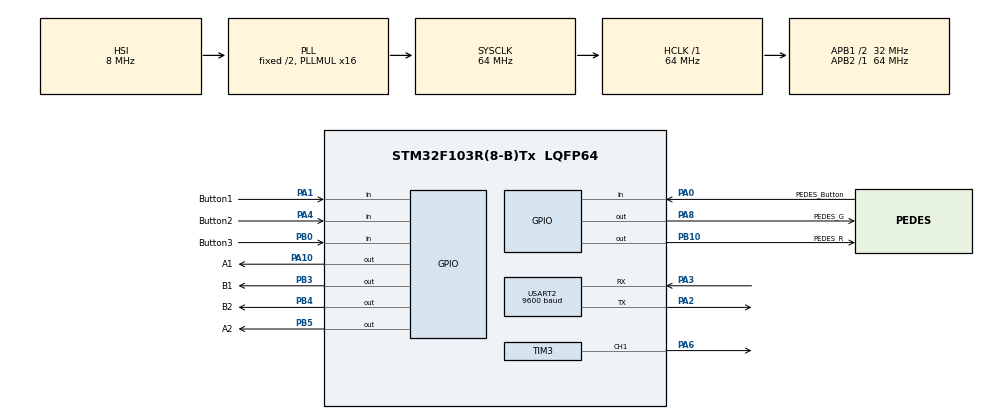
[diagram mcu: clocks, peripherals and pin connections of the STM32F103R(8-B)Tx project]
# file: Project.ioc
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Mcu.Family=STM32F1
Mcu.Name=STM32F103R(8-B)Tx
Mcu.Package=LQFP64
NVIC.PriorityGroup=NVIC_PRIORITYGROUP_4
NVIC.TIM2_IRQn=true\:0\:0\:false\:false\:true\:true\:true
NVIC.USART2_IRQn=true\:0\:0\:false\:false\:true\:true\:true
PA0-WKUP.GPIO_Label=PEDES_Button
PA0-WKUP.GPIO_PuPd=GPIO_PULLUP
PA0-WKUP.Signal=GPIO_Input
PA1.GPIO_Label=Button1
PA1.GPIO_PuPd=GPIO_PULLUP
PA1.Signal=GPIO_Input
PA10.GPIO_Label=A1
PA10.Signal=GPIO_Output
PA13.Mode=Serial_Wire
PA13.Signal=SYS_JTMS-SWDIO
PA14.Mode=Serial_Wire
PA14.Signal=SYS_JTCK-SWCLK
PA2.Mode=Asynchronous
PA2.Signal=USART2_TX
PA3.Mode=Asynchronous
PA3.Signal=USART2_RX
PA4.GPIO_Label=Button2
PA4.GPIO_PuPd=GPIO_PULLUP
PA4.Signal=GPIO_Input
PA6.Signal=S_TIM3_CH1
PA8.GPIO_Label=PEDES_G
PA8.Signal=GPIO_Output
PB0.GPIO_Label=Button3
PB0.GPIO_PuPd=GPIO_PULLUP
PB0.Signal=GPIO_Input
PB10.GPIO_Label=PEDES_R
PB10.Signal=GPIO_Output
PB3.GPIO_Label=B1
PB3.Signal=GPIO_Output
PB4.GPIO_Label=B2
PB4.Signal=GPIO_Output
PB5.GPIO_Label=A2
PB5.Signal=GPIO_Output
ProjectManager.HeapSize=0x200
ProjectManager.StackSize=0x400
ProjectManager.TargetToolchain=STM32CubeIDE
RCC.AHBFreq_Value=64000000
RCC.APB1CLKDivider=RCC_HCLK_DIV2
RCC.APB1Freq_Value=32000000
RCC.APB1TimFreq_Value=64000000
RCC.APB2Freq_Value=64000000
RCC.APB2TimFreq_Value=64000000
RCC.HCLKFreq_Value=64000000
RCC.PLLMUL=RCC_PLL_MUL16
RCC.SYSCLKFreq_VALUE=64000000
RCC.SYSCLKSource=RCC_SYSCLKSOURCE_PLLCLK
RCC.USBFreq_Value=64000000
SH.S_TIM3_CH1.0=TIM3_CH1,PWM Generation1 CH1
TIM2.Period=79
TIM2.Prescaler=7999
TIM3.Channel-PWM\ Generation1\ CH1=TIM_CHANNEL_1
TIM3.Period=999
TIM3.Prescaler=63
USART2.BaudRate=9600
USART2.VirtualMode=VM_ASYNC
VP_TIM2_VS_ClockSourceINT.Mode=Internal
VP_TIM3_VS_ClockSourceINT.Mode=Internal
board=custom

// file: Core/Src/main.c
/* USER CODE BEGIN Header */
/**
  ******************************************************************************
  * @file           : main.c
  * @brief          : Main program body
  ******************************************************************************
  * @attention
  *
  * <h2><center>&copy; Copyright (c) 2022 STMicroelectronics.
  * All rights reserved.</center></h2>
  *
  * This software component is licensed by ST under BSD 3-Clause license,
  * the "License"; You may not use this file except in compliance with the
  * License. You may obtain a copy of the License at:
  *                        opensource.org/licenses/BSD-3-Clause
  *
  ******************************************************************************
  */
/* USER CODE END Header */
#include "main.h"

/* USER CODE BEGIN Includes */
#include "software_timer.h"
#include "input_reading.h"
#include "M1_fsm.h"
#include "M2_fsm.h"
#include "M3_fsm.h"
#include "M4_fsm.h"
#include "Pedestrian.h"
#include "uart.h"
#include "global.h"
/* USER CODE END Includes */

TIM_HandleTypeDef htim2;
TIM_HandleTypeDef htim3;

UART_HandleTypeDef huart2;

void SystemClock_Config(void);
static void MX_GPIO_Init(void);
static void MX_TIM2_Init(void);
static void MX_TIM3_Init(void);
static void MX_USART2_UART_Init(void);

int main(void)
{

  /* MCU Configuration--------------------------------------------------------*/

  /* Reset of all peripherals, Initializes the Flash interface and the Systick. */
  HAL_Init();

  /* Configure the system clock */
  SystemClock_Config();

  /* Initialize all configured peripherals */
  MX_GPIO_Init();
  MX_TIM2_Init();
  MX_TIM3_Init();
  MX_USART2_UART_Init();
  /* USER CODE BEGIN 2 */
  HAL_TIM_Base_Start_IT (&htim2 ) ;
  HAL_TIM_PWM_Start(&htim3, TIM_CHANNEL_1);
  /* USER CODE END 2 */

  /* Infinite loop */
  /* USER CODE BEGIN WHILE */

  while (1)
  {
	  M1_fsm_run();
	  M2_fsm_run();
	  M3_fsm_run();
	  M4_fsm_run();
	  transmitdata();
	  Pedestrian_behavior();
    /* USER CODE END WHILE */

  }
}

void SystemClock_Config(void)
{
  RCC_OscInitTypeDef RCC_OscInitStruct = {0};
  RCC_ClkInitTypeDef RCC_ClkInitStruct = {0};

  /** Initializes the RCC Oscillators according to the specified parameters
  * in the RCC_OscInitTypeDef structure.
  */
  RCC_OscInitStruct.OscillatorType = RCC_OSCILLATORTYPE_HSI;
  RCC_OscInitStruct.HSIState = RCC_HSI_ON;
  RCC_OscInitStruct.HSICalibrationValue = RCC_HSICALIBRATION_DEFAULT;
  RCC_OscInitStruct.PLL.PLLState = RCC_PLL_ON;
  RCC_OscInitStruct.PLL.PLLSource = RCC_PLLSOURCE_HSI_DIV2;
  RCC_OscInitStruct.PLL.PLLMUL = RCC_PLL_MUL16;
  if (HAL_RCC_OscConfig(&RCC_OscInitStruct) != HAL_OK)
  {
    Error_Handler();
  }
  /** Initializes the CPU, AHB and APB buses clocks
  */
  RCC_ClkInitStruct.ClockType = RCC_CLOCKTYPE_HCLK|RCC_CLOCKTYPE_SYSCLK
                              |RCC_CLOCKTYPE_PCLK1|RCC_CLOCKTYPE_PCLK2;
  RCC_ClkInitStruct.SYSCLKSource = RCC_SYSCLKSOURCE_PLLCLK;
  RCC_ClkInitStruct.AHBCLKDivider = RCC_SYSCLK_DIV1;
  RCC_ClkInitStruct.APB1CLKDivider = RCC_HCLK_DIV2;
  RCC_ClkInitStruct.APB2CLKDivider = RCC_HCLK_DIV1;

  if (HAL_RCC_ClockConfig(&RCC_ClkInitStruct, FLASH_LATENCY_2) != HAL_OK)
  {
    Error_Handler();
  }
}

static void MX_TIM2_Init(void)
{

  TIM_ClockConfigTypeDef sClockSourceConfig = {0};
  TIM_MasterConfigTypeDef sMasterConfig = {0};

  htim2.Instance = TIM2;
  htim2.Init.Prescaler = 7999;
  htim2.Init.CounterMode = TIM_COUNTERMODE_UP;
  htim2.Init.Period = 79;
  htim2.Init.ClockDivision = TIM_CLOCKDIVISION_DIV1;
  htim2.Init.AutoReloadPreload = TIM_AUTORELOAD_PRELOAD_DISABLE;
  if (HAL_TIM_Base_Init(&htim2) != HAL_OK)
  {
    Error_Handler();
  }
  sClockSourceConfig.ClockSource = TIM_CLOCKSOURCE_INTERNAL;
  if (HAL_TIM_ConfigClockSource(&htim2, &sClockSourceConfig) != HAL_OK)
  {
    Error_Handler();
  }
  sMasterConfig.MasterOutputTrigger = TIM_TRGO_RESET;
  sMasterConfig.MasterSlaveMode = TIM_MASTERSLAVEMODE_DISABLE;
  if (HAL_TIMEx_MasterConfigSynchronization(&htim2, &sMasterConfig) != HAL_OK)
  {
    Error_Handler();
  }

}

static void MX_TIM3_Init(void)
{

  TIM_ClockConfigTypeDef sClockSourceConfig = {0};
  TIM_MasterConfigTypeDef sMasterConfig = {0};
  TIM_OC_InitTypeDef sConfigOC = {0};

  htim3.Instance = TIM3;
  htim3.Init.Prescaler = 63;
  htim3.Init.CounterMode = TIM_COUNTERMODE_UP;
  htim3.Init.Period = 999;
  htim3.Init.ClockDivision = TIM_CLOCKDIVISION_DIV1;
  htim3.Init.AutoReloadPreload = TIM_AUTORELOAD_PRELOAD_DISABLE;
  if (HAL_TIM_Base_Init(&htim3) != HAL_OK)
  {
    Error_Handler();
  }
  sClockSourceConfig.ClockSource = TIM_CLOCKSOURCE_INTERNAL;
  if (HAL_TIM_ConfigClockSource(&htim3, &sClockSourceConfig) != HAL_OK)
  {
    Error_Handler();
  }
  if (HAL_TIM_PWM_Init(&htim3) != HAL_OK)
  {
    Error_Handler();
  }
  sMasterConfig.MasterOutputTrigger = TIM_TRGO_RESET;
  sMasterConfig.MasterSlaveMode = TIM_MASTERSLAVEMODE_DISABLE;
  if (HAL_TIMEx_MasterConfigSynchronization(&htim3, &sMasterConfig) != HAL_OK)
  {
    Error_Handler();
  }
  sConfigOC.OCMode = TIM_OCMODE_PWM1;
  sConfigOC.Pulse = 0;
  sConfigOC.OCPolarity = TIM_OCPOLARITY_HIGH;
  sConfigOC.OCFastMode = TIM_OCFAST_DISABLE;
  if (HAL_TIM_PWM_ConfigChannel(&htim3, &sConfigOC, TIM_CHANNEL_1) != HAL_OK)
  {
    Error_Handler();
  }
  HAL_TIM_MspPostInit(&htim3);

}

static void MX_USART2_UART_Init(void)
{

  huart2.Instance = USART2;
  huart2.Init.BaudRate = 9600;
  huart2.Init.WordLength = UART_WORDLENGTH_8B;
  huart2.Init.StopBits = UART_STOPBITS_1;
  huart2.Init.Parity = UART_PARITY_NONE;
  huart2.Init.Mode = UART_MODE_TX_RX;
  huart2.Init.HwFlowCtl = UART_HWCONTROL_NONE;
  huart2.Init.OverSampling = UART_OVERSAMPLING_16;
  if (HAL_UART_Init(&huart2) != HAL_OK)
  {
    Error_Handler();
  }

}

static void MX_GPIO_Init(void)
{
  GPIO_InitTypeDef GPIO_InitStruct = {0};

  /* GPIO Ports Clock Enable */
  __HAL_RCC_GPIOA_CLK_ENABLE();
  __HAL_RCC_GPIOB_CLK_ENABLE();

  /*Configure GPIO pin Output Level */
  HAL_GPIO_WritePin(GPIOB, PEDES_R_Pin|B1_Pin|B2_Pin|A2_Pin, GPIO_PIN_RESET);

  /*Configure GPIO pin Output Level */
  HAL_GPIO_WritePin(GPIOA, PEDES_G_Pin|A1_Pin, GPIO_PIN_RESET);

  /*Configure GPIO pins : PEDES_Button_Pin Button1_Pin Button2_Pin */
  GPIO_InitStruct.Pin = PEDES_Button_Pin|Button1_Pin|Button2_Pin;
  GPIO_InitStruct.Mode = GPIO_MODE_INPUT;
  GPIO_InitStruct.Pull = GPIO_PULLUP;
  HAL_GPIO_Init(GPIOA, &GPIO_InitStruct);

  /*Configure GPIO pin : Button3_Pin */
  GPIO_InitStruct.Pin = Button3_Pin;
  GPIO_InitStruct.Mode = GPIO_MODE_INPUT;
  GPIO_InitStruct.Pull = GPIO_PULLUP;
  HAL_GPIO_Init(Button3_GPIO_Port, &GPIO_InitStruct);

  /*Configure GPIO pins : PEDES_R_Pin B1_Pin B2_Pin A2_Pin */
  GPIO_InitStruct.Pin = PEDES_R_Pin|B1_Pin|B2_Pin|A2_Pin;
  GPIO_InitStruct.Mode = GPIO_MODE_OUTPUT_PP;
  GPIO_InitStruct.Pull = GPIO_NOPULL;
  GPIO_InitStruct.Speed = GPIO_SPEED_FREQ_LOW;
  HAL_GPIO_Init(GPIOB, &GPIO_InitStruct);

  /*Configure GPIO pins : PEDES_G_Pin A1_Pin */
  GPIO_InitStruct.Pin = PEDES_G_Pin|A1_Pin;
  GPIO_InitStruct.Mode = GPIO_MODE_OUTPUT_PP;
  GPIO_InitStruct.Pull = GPIO_NOPULL;
  GPIO_InitStruct.Speed = GPIO_SPEED_FREQ_LOW;
  HAL_GPIO_Init(GPIOA, &GPIO_InitStruct);

}

/* USER CODE BEGIN 4 */
void HAL_TIM_PeriodElapsedCallback ( TIM_HandleTypeDef * htim ){
	if(htim->Instance == TIM2) {
		button_reading();
	}
	timerRun();
}
/* USER CODE END 4 */

void Error_Handler(void)
{
  __disable_irq();
  while (1)
  {
  }
}

/************************ (C) COPYRIGHT STMicroelectronics *****END OF FILE****/
